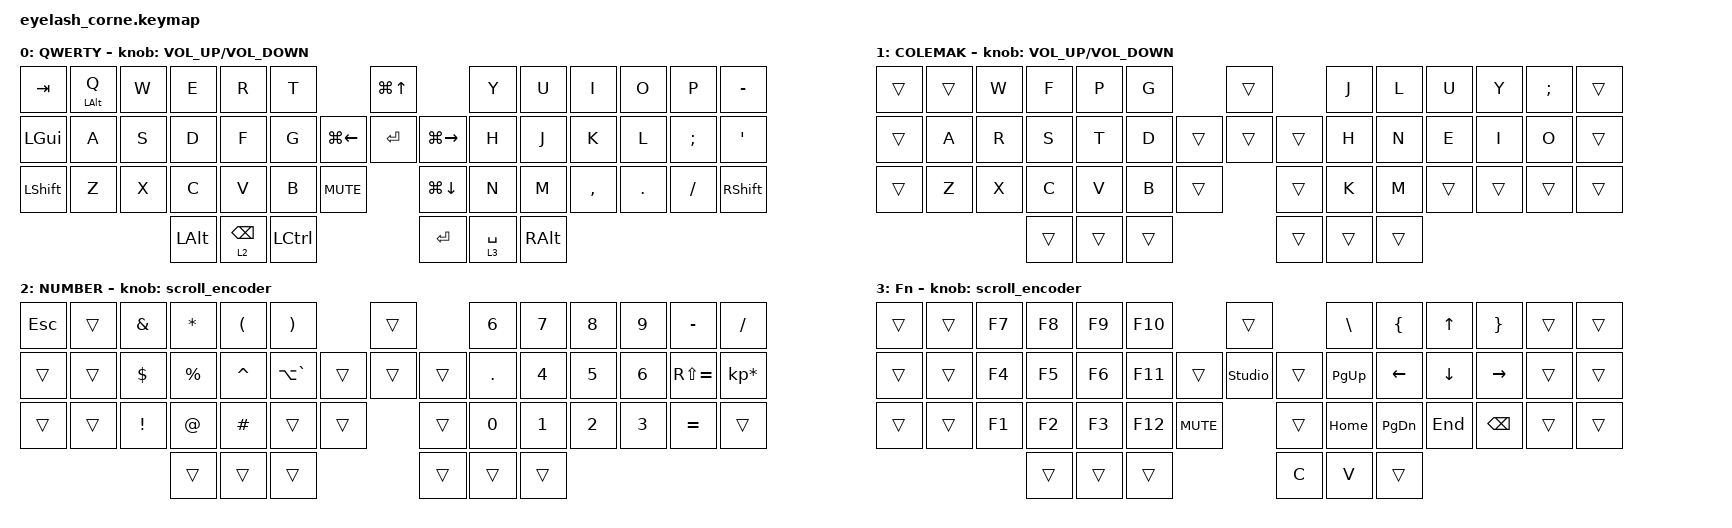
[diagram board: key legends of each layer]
#define ZMK_POINTING_DEFAULT_MOVE_VAL 1200  // 600
#define ZMK_POINTING_DEFAULT_SCRL_VAL 25   // 10

#include <input/processors.dtsi>
#include <zephyr/dt-bindings/input/input-event-codes.h>
#include <behaviors.dtsi>
#include <dt-bindings/zmk/bt.h>
#include <dt-bindings/zmk/keys.h>
#include <dt-bindings/zmk/outputs.h>
#include <dt-bindings/zmk/pointing.h>
#include <dt-bindings/zmk/rgb.h>

&mmv_input_listener { input-processors = <&zip_xy_scaler 2 1>; };

&msc_input_listener { input-processors = <&zip_scroll_scaler 2 1>; };

&msc {
    acceleration-exponent = <1>;
    time-to-max-speed-ms = <100>;
    delay-ms = <0>;
};

&mmv {
    time-to-max-speed-ms = <500>;
    acceleration-exponent = <1>;
    trigger-period-ms = <16>;
};

&soft_off { hold-time-ms = <2000>; };

/ {
    behaviors {
        td0: td0 {
            compatible = "zmk,behavior-tap-dance";
            display-name = "Shift/Caps Lock Tap Dance";
            #binding-cells = <0>;
            bindings = <&kp LEFT_SHIFT>, <&kp CAPS>;
        };
    };

    rgb_encoder: rgb_encoder {
        compatible = "zmk,behavior-sensor-rotate";
        #sensor-binding-cells = <0>;
        bindings = <&rgb_ug RGB_BRI>, <&rgb_ug RGB_BRD>;
    };

    scroll_encoder: scroll_encoder {
        compatible = "zmk,behavior-sensor-rotate";
        #sensor-binding-cells = <0>;
        bindings = <&msc SCRL_DOWN>, <&msc SCRL_UP>;
        tap-ms = <100>;
    };

    combos {
        compatible = "zmk,combos";
        softoff {
            bindings = <&soft_off>;
            key-positions = <1 15 29>;
        };
    };

    keymap {
        compatible = "zmk,keymap";

        default_layer {
            display-name = "QWERTY";
            bindings = <
                &kp TAB  &mt LALT Q  &kp W  &kp E  &kp R  &kp T                              &kp LG(UP)                              &kp Y  &kp U  &kp I  &kp O  &kp P  &kp MINUS
                &kp LGUI  &kp A  &kp S  &kp D  &kp F  &kp G                  &kp LG(LEFT)  &kp ENTER  &kp LG(RIGHT)                  &kp H  &kp J  &kp K  &kp L  &kp SEMI  &kp SQT
                &kp LSHFT  &kp Z  &kp X  &kp C  &kp V  &kp B      &kp C_MUTE                    &kp LG(DOWN)                    &kp N  &kp M  &kp COMMA  &kp DOT  &kp FSLH  &kp RSHFT
                                      &kp LALT  &lt 2 BSPC  &kp LCTRL                                                       &kp ENTER  &lt 3 SPACE  &kp RALT
            >;
            sensor-bindings = <&inc_dec_kp C_VOLUME_UP C_VOLUME_DOWN>;
        };

        colemak_layer {
            display-name = "COLEMAK";
            bindings = <
                &trans  &trans  &kp W  &kp F  &kp P  &kp G                              &trans                              &kp J  &kp L  &kp U  &kp Y  &kp SEMI  &trans
                &trans  &kp A  &kp R  &kp S  &kp T  &kp D                  &trans  &trans  &trans                  &kp H  &kp N  &kp E  &kp I  &kp O  &trans
                &trans  &kp Z  &kp X  &kp C  &kp V  &kp B      &trans                    &trans                    &kp K  &kp M  &trans  &trans  &trans  &trans
                                      &trans  &trans  &trans                                                       &trans  &trans  &trans
            >;
            sensor-bindings = <&inc_dec_kp C_VOLUME_UP C_VOLUME_DOWN>;
        };

        number_layer {
            display-name = "NUMBER";
            bindings = <
                &kp ESC  &trans  &kp AMPS  &kp ASTRK  &kp LPAR  &kp RPAR                              &trans                              &kp N6  &kp N7  &kp N8  &kp N9  &kp MINUS  &kp FSLH
                &trans  &trans  &kp DLLR  &kp PRCNT  &kp CARET  &kp LA(GRAVE)                  &trans  &trans  &trans                  &kp DOT  &kp N4  &kp N5  &kp N6  &kp RS(EQUAL)  &kp KP_ASTERISK
                &trans  &trans  &kp EXCL  &kp AT  &kp HASH  &trans      &trans                    &trans                    &kp N0  &kp N1  &kp N2  &kp N3  &kp EQUAL  &trans
                                      &trans  &trans  &trans                                                       &trans  &trans  &trans
            >;
            sensor-bindings = <&scroll_encoder>;
        };

        layer_3 {
            display-name = "Fn";
            bindings = <
                &trans  &trans  &kp F7  &kp F8  &kp F9  &kp F10                              &trans                              &kp BSLH  &kp LBRC  &kp UP  &kp RBRC  &trans  &trans
                &trans  &trans  &kp F4  &kp F5  &kp F6  &kp F11                  &trans  &studio_unlock  &trans                  &kp PG_UP  &kp LEFT  &kp DOWN  &kp RIGHT  &trans  &trans
                &trans  &trans  &kp F1  &kp F2  &kp F3  &kp F12      &kp C_MUTE                    &trans                    &kp HOME  &kp PG_DN  &kp END  &kp BSPC  &trans  &trans
                                      &trans  &trans  &trans                                                       &kp C  &kp V  &trans
            >;
            sensor-bindings = <&scroll_encoder>;
        };
    };
};    

